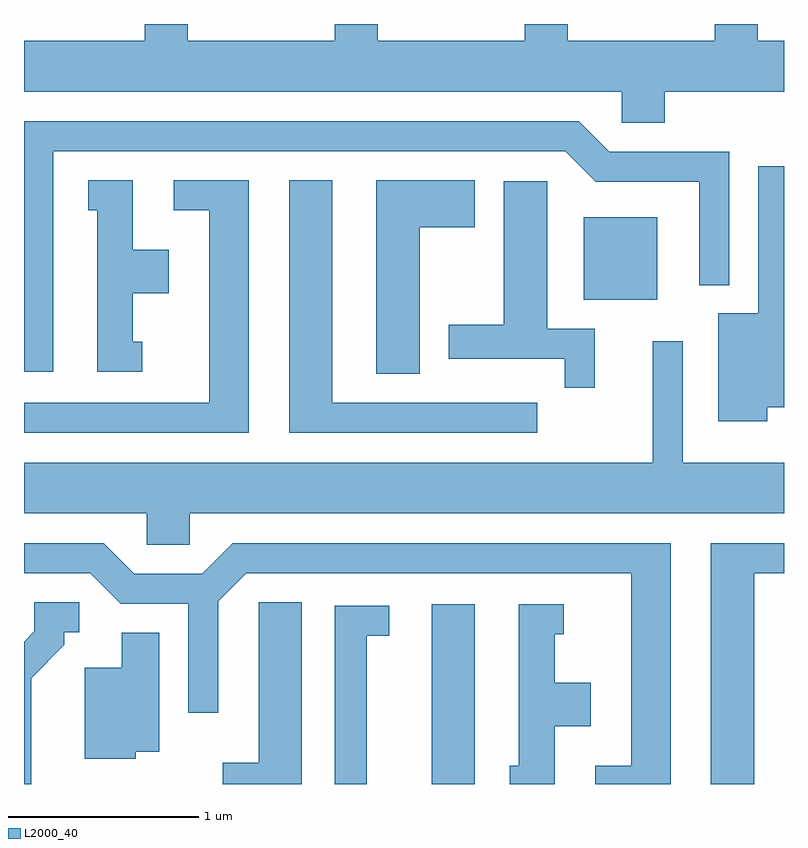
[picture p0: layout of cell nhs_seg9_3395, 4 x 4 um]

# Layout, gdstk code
import gdstk
lib = gdstk.Library(unit=1e-6, precision=1e-09)
def R(c, l, rs):  # rectangles x0, y0, x1, y1
    for r in rs: c.add(gdstk.rectangle(r[:2], r[2:], *l))
def P(c, l, *ps):  # polygons
    for p in ps: c.add(gdstk.Polygon(p, *l))
L2000_40 = (2000, 40)

nhs_seg9_3395 = lib.new_cell('nhs_seg9_3395')
R(nhs_seg9_3395, L2000_40, [(287.756,1950.432,287.984,1951.379), (288.556,1952.981,288.944,1953.414)])
P(nhs_seg9_3395, L2000_40, [(288.984,1954.076),(289.611,1954.076),(289.611,1954.344),(289.474,1954.344),(289.474,1954.432),(289.246,1954.432),(289.246,1954.344),(288.474,1954.344),(288.474,1954.432),(288.246,1954.432),(288.246,1954.344),(287.474,1954.344),(287.474,1954.432),(287.246,1954.432),(287.246,1954.344),(286.474,1954.344),(286.474,1954.432),(286.246,1954.432),(286.246,1954.344),(285.611,1954.344),(285.611,1954.076),(288.756,1954.076),(288.756,1953.911),(288.984,1953.911)],
  [(285.764,1953.761),(288.459,1953.761),(288.619,1953.601),(289.166,1953.601),(289.166,1953.058),(289.324,1953.058),(289.324,1953.759),(288.692,1953.759),(288.532,1953.919),(285.611,1953.919),(285.611,1952.601),(285.764,1952.601)],
  [(289.524,1952.416),(289.611,1952.416),(289.611,1953.683),(289.476,1953.683),(289.476,1952.909),(289.266,1952.909),(289.266,1952.341),(289.524,1952.341)],
  [(286.233,1952.759),(286.184,1952.759),(286.184,1953.016),(286.374,1953.016),(286.374,1953.244),(286.184,1953.244),(286.184,1953.609),(285.948,1953.609),(285.948,1953.451),(285.996,1953.451),(285.996,1952.601),(286.233,1952.601)],
  [(288.313,1952.439),(287.234,1952.439),(287.234,1953.609),(287.006,1953.609),(287.006,1952.281),(288.313,1952.281)],
  [(287.694,1953.361),(287.984,1953.361),(287.984,1953.609),(287.466,1953.609),(287.466,1952.591),(287.694,1952.591)],
  [(286.794,1953.609),(286.398,1953.609),(286.398,1953.451),(286.586,1953.451),(286.586,1952.439),(285.611,1952.439),(285.611,1952.281),(286.794,1952.281)],
  [(288.614,1952.829),(288.364,1952.829),(288.364,1953.604),(288.136,1953.604),(288.136,1952.849),(287.846,1952.849),(287.846,1952.671),(288.456,1952.671),(288.456,1952.518),(288.614,1952.518)],
  [(286.484,1951.856),(289.611,1951.856),(289.611,1952.124),(289.079,1952.124),(289.079,1952.763),(288.921,1952.763),(288.921,1952.124),(285.611,1952.124),(285.611,1951.856),(286.256,1951.856),(286.256,1951.691),(286.484,1951.691)],
  [(289.454,1951.541),(289.611,1951.541),(289.611,1951.699),(289.226,1951.699),(289.226,1950.432),(289.454,1950.432)],
  [(289.014,1951.699),(286.709,1951.699),(286.549,1951.539),(286.192,1951.539),(286.032,1951.699),(285.611,1951.699),(285.611,1951.541),(285.959,1951.541),(286.119,1951.381),(286.476,1951.381),(286.476,1950.808),(286.634,1950.808),(286.634,1951.394),(286.782,1951.541),(288.806,1951.541),(288.806,1950.529),(288.618,1950.529),(288.618,1950.432),(289.014,1950.432)],
  [(285.649,1950.989),(285.824,1951.164),(285.824,1951.231),(285.903,1951.231),(285.903,1951.389),(285.666,1951.389),(285.666,1951.237),(285.611,1951.182),(285.611,1950.432),(285.649,1950.432)],
  [(287.074,1951.389),(286.846,1951.389),(286.846,1950.544),(286.658,1950.544),(286.658,1950.432),(287.074,1950.432)],
  [(288.404,1950.736),(288.594,1950.736),(288.594,1950.964),(288.404,1950.964),(288.404,1951.221),(288.453,1951.221),(288.453,1951.379),(288.216,1951.379),(288.216,1950.529),(288.168,1950.529),(288.168,1950.432),(288.404,1950.432)],
  [(287.414,1951.211),(287.533,1951.211),(287.533,1951.369),(287.246,1951.369),(287.246,1950.432),(287.414,1950.432)],
  [(286.199,1950.601),(286.324,1950.601),(286.324,1951.229),(286.126,1951.229),(286.126,1951.044),(285.931,1951.044),(285.931,1950.566),(286.199,1950.566)])

lib.write_gds('nhs_seg9_3395.gds')
